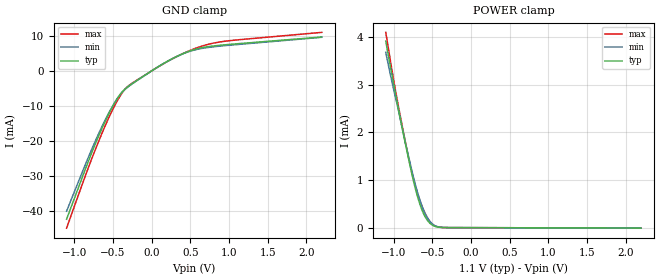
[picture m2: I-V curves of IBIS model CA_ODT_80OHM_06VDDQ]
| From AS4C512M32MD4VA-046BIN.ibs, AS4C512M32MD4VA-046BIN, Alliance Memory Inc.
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|   MODEL: CA_ODT_80OHM_06VDDQ
[Model]   CA_ODT_80OHM_06VDDQ
Model_type   Input
Vinl   = 0.080V
Vinh   = 0.220V
|   typ   min   max
C_comp   0.525pF   0.473pF   0.578pF
[Voltage Range]   1.100V   1.060V   1.170V
[Temperature Range]   25.0   85.0   -40.0
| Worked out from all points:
|   GND clamp passes 1 mA (typ) near -0.07 V on its own axis
|   POWER clamp passes 1 mA (typ) near -0.74 V on its own axis
[GND Clamp]
|   Voltage   I(typ)   I(min)   I(max)
-1.1V     -42.41mA   -40.12mA   -44.96mA
-790mV    -24.26mA   -23.22mA   -26.03mA
-610mV    -14.86mA   -14.44mA   -16.17mA
-510mV    -10.41mA   -10.24mA   -11.34mA
-430mV    -7.421mA   -7.448mA   -8mA
-360mV    -5.529mA   -5.614mA   -5.65mA
-290mV    -4.258mA   -4.301mA   -4.11mA
240mV     3.174mA    3.152mA    3.111mA
420mV     5.073mA    5.007mA    5.098mA
580mV     6.271mA    6.11mA     6.553mA
970mV     7.496mA    7.263mA    8.536mA
2.2V      9.682mA    9.603mA    11.01mA
[POWER Clamp]
|   Voltage   I(typ)   I(min)   I(max)
-1.1V     3.911mA    3.676mA    4.095mA
-1.01V    3.119mA    2.984mA    3.207mA
-940mV    2.517mA    2.485mA    2.575mA
-830mV    1.635mA    1.667mA    1.664mA
-760mV    1.107mA    1.178mA    1.147mA
-690mV    655.5uA    742.3uA    729.9uA
-630mV    363.6uA    444.7uA    445.2uA
-560mV    149.9uA    201.3uA    203.4uA
-490mV    45.89uA    67uA       65.9uA
-420mV    10.64uA    16.45uA    14.42uA
-300mV    1.445uA    1.909uA    1.45uA
2.2V      -8.354uA   -10.02uA   -8.306uA
